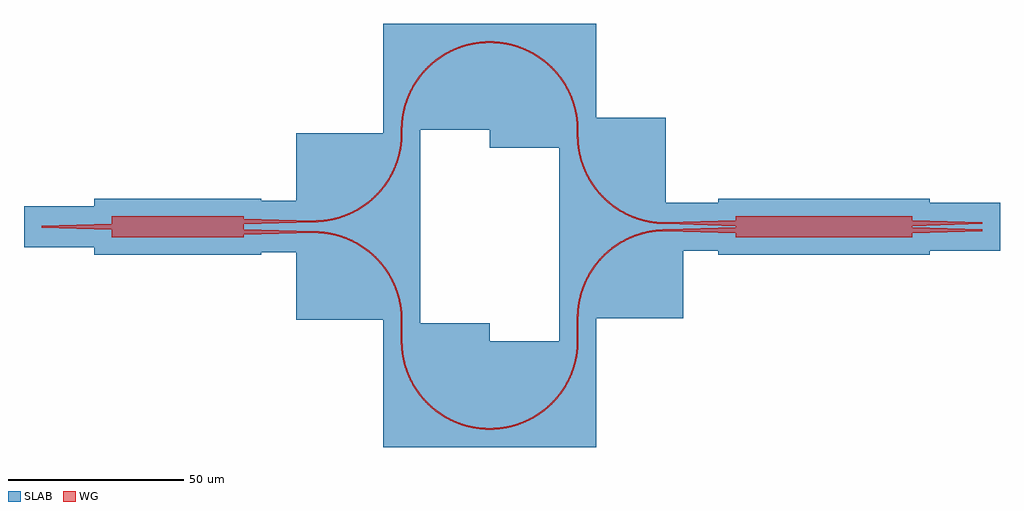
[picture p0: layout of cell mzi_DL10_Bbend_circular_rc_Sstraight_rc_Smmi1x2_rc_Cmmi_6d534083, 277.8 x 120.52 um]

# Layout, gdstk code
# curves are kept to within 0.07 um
from math import pi, radians
import gdstk
lib = gdstk.Library(unit=1e-6, precision=1e-09)
def R(c, l, rs):  # rectangles x0, y0, x1, y1
    for r in rs: c.add(gdstk.rectangle(r[:2], r[2:], *l))
def P(c, l, *ps):  # polygons
    for p in ps: c.add(gdstk.Polygon(p, *l))
WG = (3, 0)
SLAB = (5, 0)

mmi1x2_wnone_wt1p6_lt20_ = lib.new_cell('mmi1x2_WNone_WT1p6_LT20_LM37p5_WM6_GM1p47_CSxs_rc500')
P(mmi1x2_wnone_wt1p6_lt20_, WG, [(0,-3),(0,-0.8),(-20,-0.225),(-20,0.225),(0,0.8),(0,3),(37.5,3),(37.5,2.335),(57.5,1.76),(57.5,1.31),(37.5,0.735),(37.5,-0.735),(57.5,-1.31),(57.5,-1.76),(37.5,-2.335),(37.5,-3)])
P(mmi1x2_wnone_wt1p6_lt20_, SLAB, [(-5,-8),(-5,-5.8),(-25,-5.8),(-25,5.8),(-5,5.8),(-5,8),(42.5,8),(42.5,7.335),(62.5,7.335),(62.5,-7.335),(42.5,-7.335),(42.5,-8)])

bend_circular_rnone_a90_ = lib.new_cell('bend_circular_RNone_A90_WNone_CSxs_rc500')
P(bend_circular_rnone_a90_, WG, [(0,-0.225),(0,0.225),(2.506,0.352),(4.987,0.732),(7.417,1.361),(10,2.333),(12.023,3.338),(13.946,4.523),(15.753,5.879),(17.43,7.393),(18.961,9.054),(20.477,11.054),(21.662,12.977),(22.667,15),(23.639,17.583),(24.268,20.013),(24.648,22.494),(24.775,25),(25.225,25),(25.096,22.448),(24.759,20.173),(24.216,17.938),(23.378,15.524),(22.299,13.208),(20.992,11.012),(19.469,8.96),(17.927,7.254),(16.04,5.531),(13.988,4.008),(11.792,2.701),(9.712,1.72),(7.551,0.932),(5.078,0.291),(2.552,-0.096)])
R(bend_circular_rnone_a90_, SLAB, [(-5,-5.225,30.225,25)])

straight_l1_csxs_rc500 = lib.new_cell('straight_L1_CSxs_rc500')
R(straight_l1_csxs_rc500, WG, [(0,-0.225,1,0.225)])
R(straight_l1_csxs_rc500, SLAB, [(-5,-5.225,6,5.225)])

straight_l6_csxs_rc500 = lib.new_cell('straight_L6_CSxs_rc500')
R(straight_l6_csxs_rc500, WG, [(0,-0.225,6,0.225)])
R(straight_l6_csxs_rc500, SLAB, [(-5,-5.225,11,5.225)])

straight_l0p1_csxs_rc500 = lib.new_cell('straight_L0p1_CSxs_rc500')
R(straight_l0p1_csxs_rc500, WG, [(0,-0.225,0.1,0.225)])
R(straight_l0p1_csxs_rc500, SLAB, [(-5,-5.225,5.1,5.225)])

mmi2x2_wnone_wt1p6_lt20_ = lib.new_cell('mmi2x2_WNone_WT1p6_LT20_LM50p2_WM6_GM0p4_CSxs_rc500')
P(mmi2x2_wnone_wt1p6_lt20_, WG, [(0,-3),(0,-1.8),(-20,-1.225),(-20,-0.775),(0,-0.2),(0,0.2),(-20,0.775),(-20,1.225),(0,1.8),(0,3),(50.2,3),(50.2,1.8),(70.2,1.225),(70.2,0.775),(50.2,0.2),(50.2,-0.2),(70.2,-0.775),(70.2,-1.225),(50.2,-1.8),(50.2,-3)])
P(mmi2x2_wnone_wt1p6_lt20_, SLAB, [(-5,-8),(-5,-6.8),(-25,-6.8),(-25,6.8),(-5,6.8),(-5,8),(55.2,8),(55.2,6.8),(75.2,6.8),(75.2,-6.8),(55.2,-6.8),(55.2,-8)])

straight_l1p535000000000 = lib.new_cell('straight_L1p5350000000000001_CSxs_rc500')
R(straight_l1p535000000000, WG, [(0,-0.225,1.535,0.225)])
R(straight_l1p535000000000, SLAB, [(-5,-5.225,6.535,5.225)])

straight_l6p535_csxs_rc5 = lib.new_cell('straight_L6p535_CSxs_rc500')
R(straight_l6p535_csxs_rc5, WG, [(0,-0.225,6.535,0.225)])
R(straight_l6p535_csxs_rc5, SLAB, [(-5,-5.225,11.535,5.225)])

mzi_dl10_bbend_circular_ = lib.new_cell('mzi_DL10_Bbend_circular_rc_Sstraight_rc_Smmi1x2_rc_Cmmi_6d534083')
mzi_dl10_bbend_circular_.add(gdstk.Reference(mmi1x2_wnone_wt1p6_lt20_, (0,0)))
mzi_dl10_bbend_circular_.add(gdstk.Reference(bend_circular_rnone_a90_, (57.5,-1.535), x_reflection=True))
mzi_dl10_bbend_circular_.add(gdstk.Reference(bend_circular_rnone_a90_, (82.5,-32.535), rotation=3*pi/2))
mzi_dl10_bbend_circular_.add(gdstk.Reference(bend_circular_rnone_a90_, (57.5,1.535)))
mzi_dl10_bbend_circular_.add(gdstk.Reference(bend_circular_rnone_a90_, (107.5,52.535), rotation=pi))
mzi_dl10_bbend_circular_.add(gdstk.Reference(bend_circular_rnone_a90_, (132.6,27.535), rotation=pi/2))
mzi_dl10_bbend_circular_.add(gdstk.Reference(bend_circular_rnone_a90_, (132.6,26), rotation=3*pi/2))
mzi_dl10_bbend_circular_.add(gdstk.Reference(bend_circular_rnone_a90_, (107.6,-57.535)))
mzi_dl10_bbend_circular_.add(gdstk.Reference(bend_circular_rnone_a90_, (157.6,-1), rotation=pi))
mzi_dl10_bbend_circular_.add(gdstk.Reference(straight_l1_csxs_rc500, (82.5,26.535), rotation=pi/2))
mzi_dl10_bbend_circular_.add(gdstk.Reference(straight_l6_csxs_rc500, (82.5,-26.535), rotation=3*pi/2))
mzi_dl10_bbend_circular_.add(gdstk.Reference(straight_l0p1_csxs_rc500, (107.5,52.535)))
mzi_dl10_bbend_circular_.add(gdstk.Reference(straight_l0p1_csxs_rc500, (107.5,-57.535)))
mzi_dl10_bbend_circular_.add(gdstk.Reference(mmi2x2_wnone_wt1p6_lt20_, (227.8,0), rotation=pi, x_reflection=True))
mzi_dl10_bbend_circular_.add(gdstk.Reference(straight_l1p535000000000, (132.6,26), rotation=pi/2))
mzi_dl10_bbend_circular_.add(gdstk.Reference(straight_l6p535_csxs_rc5, (132.6,-32.535), rotation=pi/2))

lib.write_gds('mzi_DL10_Bbend_circular_rc_Sstraight_rc_Smmi1x2_rc_Cmmi_6d534083.gds')
